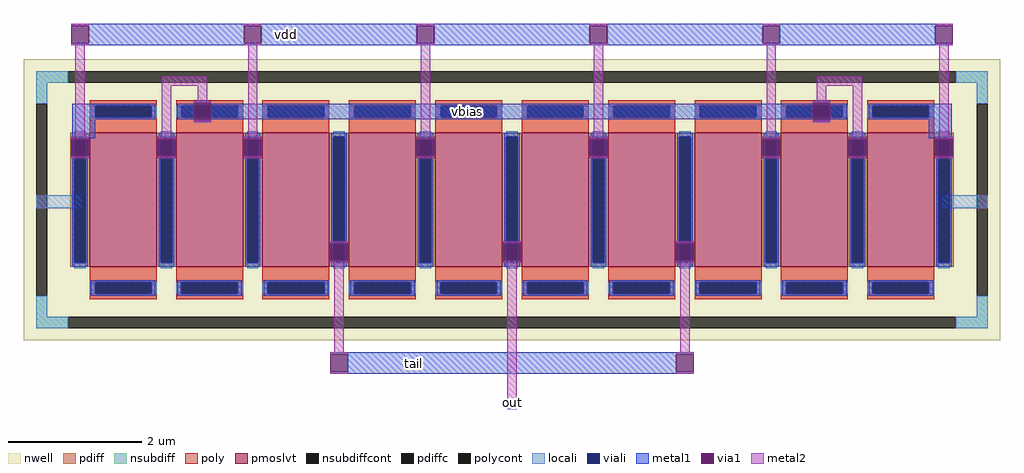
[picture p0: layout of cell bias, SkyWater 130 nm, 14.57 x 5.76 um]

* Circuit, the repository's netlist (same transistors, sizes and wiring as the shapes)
* SPDX-License-Identifier: Apache-2.0
* Copyright 2026 Mauro Rodriguez Blasco
*
* Fourth layout exercise: the comparator's PMOS bias mirror, one unit w=2 l=1: the diode XM8
* (2 units), the tail source XM5 (4) and the second stage's load XM7 (2), as one low-Vt device
* of ten fingers in one n-well with its guard ring, in the order D 8 5 5 7 7 5 5 8 D. All gates
* are vbias and all sources vdd, so neighbours of different transistors share a vdd column; the
* two XM7 fingers share the out column, the node that swings rail to rail, and the dummies
* touch vbias, a DC node where their capacitance does no harm. Its errors change the currents
* by a few per cent but hardly the offset (0.03 mV for 5 %).
* Diffusion columns, left to right: vdd vbias vdd tail vdd out vdd tail vdd vbias vdd.
* Guard ring (the body): vdd. Reference for LVS (scripts/flow.py lvs bias).
.subckt bias vbias tail out vdd
XM8 vbias vbias vdd vdd sky130_fd_pr__pfet_01v8_lvt w=2 l=1 mult=2 m=2
XM5 tail vbias vdd vdd sky130_fd_pr__pfet_01v8_lvt w=2 l=1 mult=4 m=4
XM7 out vbias vdd vdd sky130_fd_pr__pfet_01v8_lvt w=2 l=1 mult=2 m=2
XMD vbias vdd vdd vdd sky130_fd_pr__pfet_01v8_lvt w=2 l=1 mult=2 m=2
.ends bias

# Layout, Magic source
magic
tech sky130A
magscale 1 2
<< locali >>
rect -17 340 120 380
rect 2688 340 2825 380
<< metal1 >>
rect 88 886 2720 892
rect 140 834 604 886
rect 656 834 1120 886
rect 1172 834 1636 886
rect 1688 834 2152 886
rect 2204 834 2668 886
rect 88 828 2720 834
rect 454 656 506 662
rect 91 554 160 653
rect 405 607 454 653
rect 2302 656 2354 662
rect 506 607 2302 653
rect 454 598 506 604
rect 2354 607 2403 653
rect 2302 598 2354 604
rect 2648 554 2717 653
rect 88 550 160 554
rect 88 548 140 550
rect 88 490 140 496
rect 346 548 398 554
rect 346 490 398 496
rect 604 548 656 554
rect 604 490 656 496
rect 1120 548 1172 554
rect 1120 490 1172 496
rect 1636 548 1688 554
rect 1636 490 1688 496
rect 2152 548 2204 554
rect 2152 490 2204 496
rect 2410 548 2462 554
rect 2648 550 2720 554
rect 2410 490 2462 496
rect 2668 548 2720 550
rect 2668 490 2720 496
rect 862 236 914 242
rect 862 178 914 184
rect 1378 236 1430 242
rect 1378 178 1430 184
rect 1894 236 1946 242
rect 1894 178 1946 184
rect 862 -96 1946 -90
rect 914 -148 1894 -96
rect 862 -154 1946 -148
<< via1 >>
rect 88 834 140 886
rect 604 834 656 886
rect 1120 834 1172 886
rect 1636 834 1688 886
rect 2152 834 2204 886
rect 2668 834 2720 886
rect 454 604 506 656
rect 2302 604 2354 656
rect 88 496 140 548
rect 346 496 398 548
rect 604 496 656 548
rect 1120 496 1172 548
rect 1636 496 1688 548
rect 2152 496 2204 548
rect 2410 496 2462 548
rect 2668 496 2720 548
rect 862 184 914 236
rect 1378 184 1430 236
rect 1894 184 1946 236
rect 862 -148 914 -96
rect 1894 -148 1946 -96
<< metal2 >>
rect 88 886 140 892
rect 88 828 140 834
rect 604 886 656 892
rect 604 828 656 834
rect 1120 886 1172 892
rect 1120 828 1172 834
rect 1636 886 1688 892
rect 1636 828 1688 834
rect 2152 886 2204 892
rect 2152 828 2204 834
rect 2668 886 2720 892
rect 2668 828 2720 834
rect 100 554 128 828
rect 358 706 494 734
rect 358 554 386 706
rect 466 662 494 706
rect 454 656 506 662
rect 454 598 506 604
rect 616 554 644 828
rect 1132 554 1160 828
rect 1648 554 1676 828
rect 2164 554 2192 828
rect 2314 706 2450 734
rect 2314 662 2342 706
rect 2302 656 2354 662
rect 2302 598 2354 604
rect 2422 554 2450 706
rect 2680 554 2708 828
rect 88 548 140 554
rect 88 490 140 496
rect 346 548 398 554
rect 346 490 398 496
rect 604 548 656 554
rect 604 490 656 496
rect 1120 548 1172 554
rect 1120 490 1172 496
rect 1636 548 1688 554
rect 1636 490 1688 496
rect 2152 548 2204 554
rect 2152 490 2204 496
rect 2410 548 2462 554
rect 2410 490 2462 496
rect 2668 548 2720 554
rect 2668 490 2720 496
rect 862 236 914 242
rect 862 178 914 184
rect 1378 236 1430 242
rect 1378 178 1430 184
rect 1894 236 1946 242
rect 1894 178 1946 184
rect 874 -90 902 178
rect 862 -96 914 -90
rect 862 -154 914 -148
rect 1390 -260 1418 178
rect 1906 -90 1934 178
rect 1894 -96 1946 -90
rect 1894 -154 1946 -148
use sky130_fd_pr__pfet_01v8_lvt_XWUKYC  XM
transform 1 0 1404 0 1 366
box -1457 -419 1457 419
<< labels >>
flabel metal1 1260 620 1280 640 0 FreeSans 3 0 0 0 vbias
port 1 nsew
flabel metal1 720 850 740 870 0 FreeSans 3 0 0 0 vdd
port 2 nsew
flabel metal1 1100 -132 1120 -112 0 FreeSans 3 0 0 0 tail
port 3 nsew
flabel metal2 1396 -250 1412 -230 0 FreeSans 3 0 0 0 out
port 4 nsew
<< end >>

# cell sky130_fd_pr__pfet_01v8_lvt_XWUKYC: kit device sky130_fd_pr__pfet_01v8_lvt, w 2 l 1 m 1 nf 10 diffcov 100 polycov 100 guard 1 glc 1 grc 1 gtc 1 gbc 1 tbcov 100 rlcov 100 topc 1 botc 1 poverlap 0 doverlap 1 lmin 0.35 wmin 0.42 class mosfet compatible {sky130_fd_pr__pfet_01v8 sky130_fd_pr__pfet_01v8_lvt sky130_fd_pr__pfet_01v8_hvt sky130_fd_pr__pfet_g5v0d10v5} full_metal 1 conn_gates 0 viasrc 100 viadrn 100 viagate 100 viagb 0 viagr 0 viagl 0 viagt 0 doports 1
